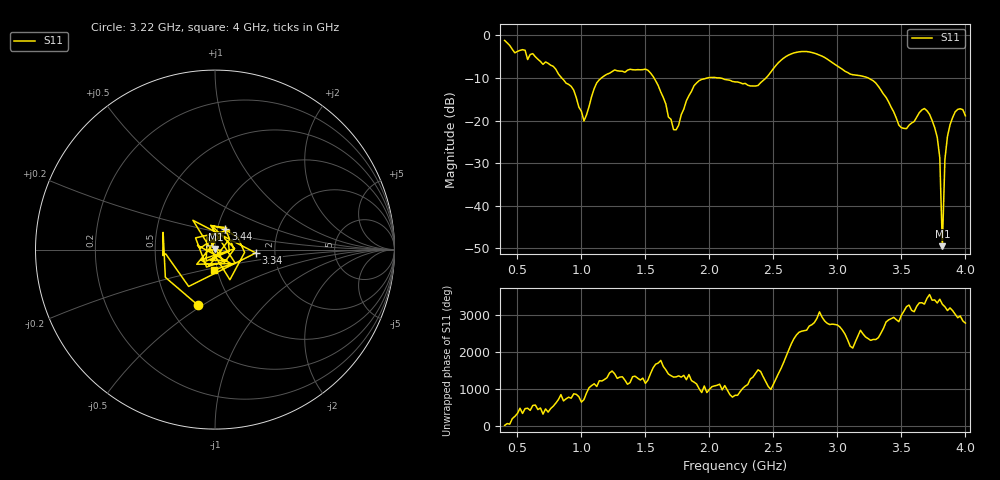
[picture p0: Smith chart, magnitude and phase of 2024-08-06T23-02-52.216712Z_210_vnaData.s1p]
!Created with skrf (http://scikit-rf.org).
# Hz S RI R 50.0
!freq ReS11 ImS11
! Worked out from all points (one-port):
!   181 points, 400 MHz to 4 GHz, reference 50 ohm
!   lowest |S11| = -49.5 dB at 3.82 GHz (marker M1), VSWR 1.01, Z = 50.2 + j0.281 ohm
!   |S11| at or under -10 dB: 1.567 GHz to 1.985 GHz (417.3 MHz wide, 23.5 % of centre); 2.083 GHz to 2.442 GHz (359.2 MHz wide, 15.9 % of centre); 3.241 GHz to end of sweep (the widest 3 of 4)
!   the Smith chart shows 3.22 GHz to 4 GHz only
!   S11 on the Smith chart (normalised r, x): 3.22 GHz: 0.69, -0.48; 3.34 GHz: 1.59, -0.06; 3.44 GHz: 1.09, +0.25; 4 GHz: 0.96, -0.22
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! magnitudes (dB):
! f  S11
! 400 MHz  -1.2
! 860 MHz  -10.4
! 940 MHz  -12.9
! 1.02 GHz  -20.1
! 1.12 GHz  -11.1
! 1.3 GHz  -8.4
! 1.52 GHz  -8.2
! 1.6 GHz  -11.8
! 1.72 GHz  -22.1
! 1.76 GHz  -21.1
! 1.92 GHz  -10.6
! 2.2 GHz  -10.9
! 2.38 GHz  -11.8
! 2.66 GHz  -4.1
! 3.1 GHz  -9.1
! 3.22 GHz  -9.8
! 3.34 GHz  -12.8
! 3.44 GHz  -18.0
! 3.5 GHz  -21.7
! 3.56 GHz  -21.1
! 3.68 GHz  -17.2
! 3.76 GHz  -21.7
! 3.8 GHz  -28.7
! 3.82 GHz  -49.5
! 3.84 GHz  -29.1
! 3.86 GHz  -23.7
! 3.92 GHz  -18.0
! 4 GHz  -18.9
